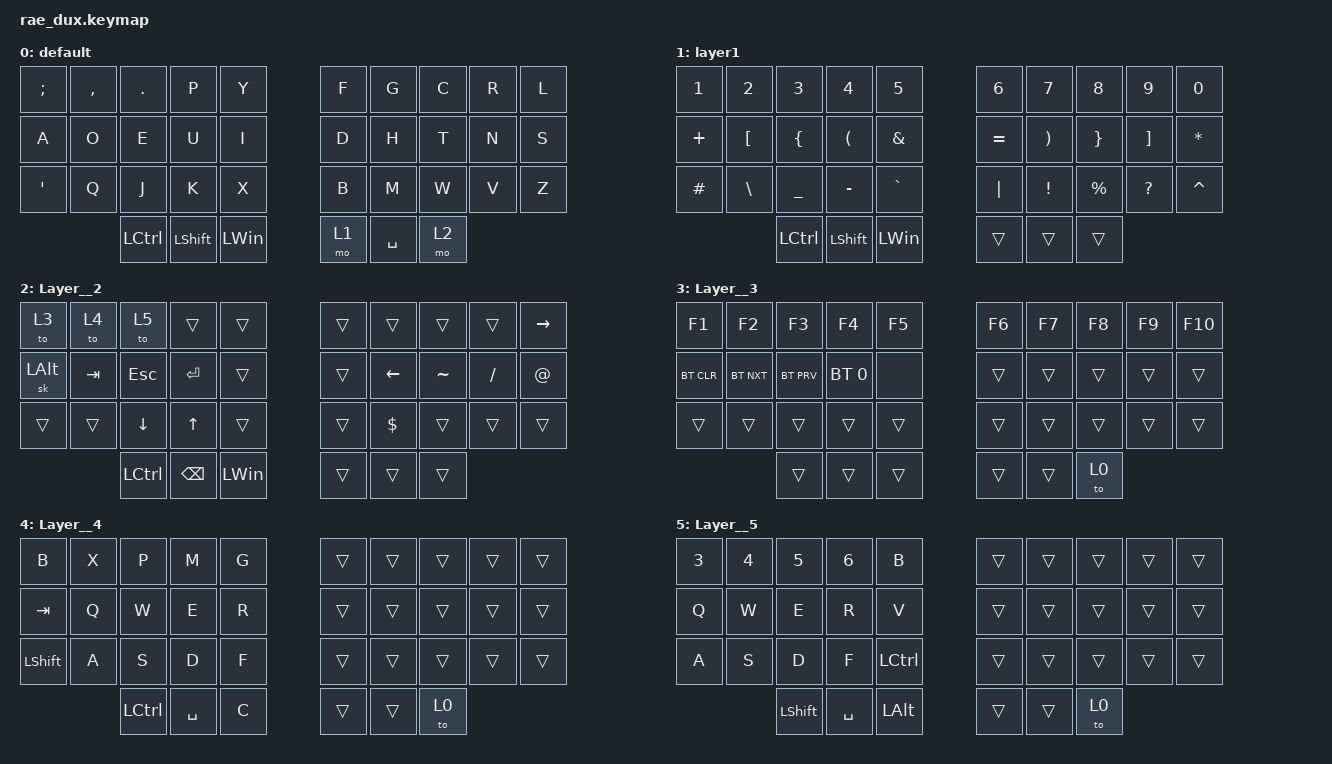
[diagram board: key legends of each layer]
/*
 * Copyright (c) 2021 The ZMK Contributors
 *
 * SPDX-License-Identifier: MIT
 */

#include <behaviors.dtsi>
#include <dt-bindings/zmk/keys.h>
#include <dt-bindings/zmk/bt.h>

#define BASE_L  0

/ {
    keymap {
        compatible = "zmk,keymap";

        default {
            bindings = <
&kp SEMI  &kp COMMA    &kp DOT      &kp P         &kp Y  &kp F      &kp G  &kp C  &kp R  &kp L
   &kp A      &kp O      &kp E      &kp U         &kp I  &kp D      &kp H  &kp T  &kp N  &kp S
&kp APOS      &kp Q      &kp J      &kp K         &kp X  &kp B      &kp M  &kp W  &kp V  &kp Z
                     &kp LCTRL  &kp LSHFT  &kp LEFT_WIN  &mo 1  &kp SPACE  &mo 2
            >;
        };

        layer1 {
            bindings = <
  &kp N1            &kp N2          &kp N3                &kp N4         &kp N5     &kp N6                 &kp N7           &kp N8             &kp N9        &kp N0
&kp PLUS  &kp LEFT_BRACKET  &kp LEFT_BRACE  &kp LEFT_PARENTHESIS  &kp AMPERSAND  &kp EQUAL  &kp RIGHT_PARENTHESIS  &kp RIGHT_BRACE  &kp RIGHT_BRACKET  &kp ASTERISK
&kp HASH     &kp BACKSLASH       &kp UNDER             &kp MINUS      &kp GRAVE   &kp PIPE        &kp EXCLAMATION      &kp PERCENT       &kp QUESTION     &kp CARET
                                 &kp LCTRL        &kp LEFT_SHIFT   &kp LEFT_WIN     &trans                 &trans           &trans
            >;
        };

        Layer__2 {
            bindings = <
   &to 3    &to 4           &to 5         &trans        &trans  &trans          &trans     &trans     &trans  &kp RIGHT_ARROW
&sk LALT  &kp TAB         &kp ESC      &kp ENTER        &trans  &trans  &kp LEFT_ARROW  &kp TILDE  &kp SLASH           &kp AT
  &trans   &trans  &kp DOWN_ARROW   &kp UP_ARROW        &trans  &trans      &kp DOLLAR     &trans     &trans           &trans
                        &kp LCTRL  &kp BACKSPACE  &kp LEFT_WIN  &trans          &trans     &trans
            >;
        };

        Layer__3 {
            bindings = <
    &kp F1      &kp F2      &kp F3        &kp F4  &kp F5  &kp F6  &kp F7  &kp F8  &kp F9  &kp F10
&bt BT_CLR  &bt BT_NXT  &bt BT_PRV  &bt BT_SEL 0   &none  &trans  &trans  &trans  &trans   &trans
    &trans      &trans      &trans        &trans  &trans  &trans  &trans  &trans  &trans   &trans
                            &trans        &trans  &trans  &trans  &trans   &to 0
            >;
        };

        Layer__4 {
            bindings = <
    &kp B  &kp X      &kp P      &kp M  &kp G  &trans  &trans  &trans  &trans  &trans
  &kp TAB  &kp Q      &kp W      &kp E  &kp R  &trans  &trans  &trans  &trans  &trans
&kp LSHFT  &kp A      &kp S      &kp D  &kp F  &trans  &trans  &trans  &trans  &trans
                  &kp LCTRL  &kp SPACE  &kp C  &trans  &trans   &to 0
            >;
        };

        Layer__5 {
            bindings = <
&kp NUMBER_3  &kp NUMBER_4    &kp NUMBER_5  &kp NUMBER_6         &kp B  &trans  &trans  &trans  &trans  &trans
       &kp Q         &kp W           &kp E         &kp R         &kp V  &trans  &trans  &trans  &trans  &trans
       &kp A         &kp S           &kp D         &kp F     &kp LCTRL  &trans  &trans  &trans  &trans  &trans
                            &kp LEFT_SHIFT     &kp SPACE  &kp LEFT_ALT  &trans  &trans   &to 0
            >;
        };
    };
};
